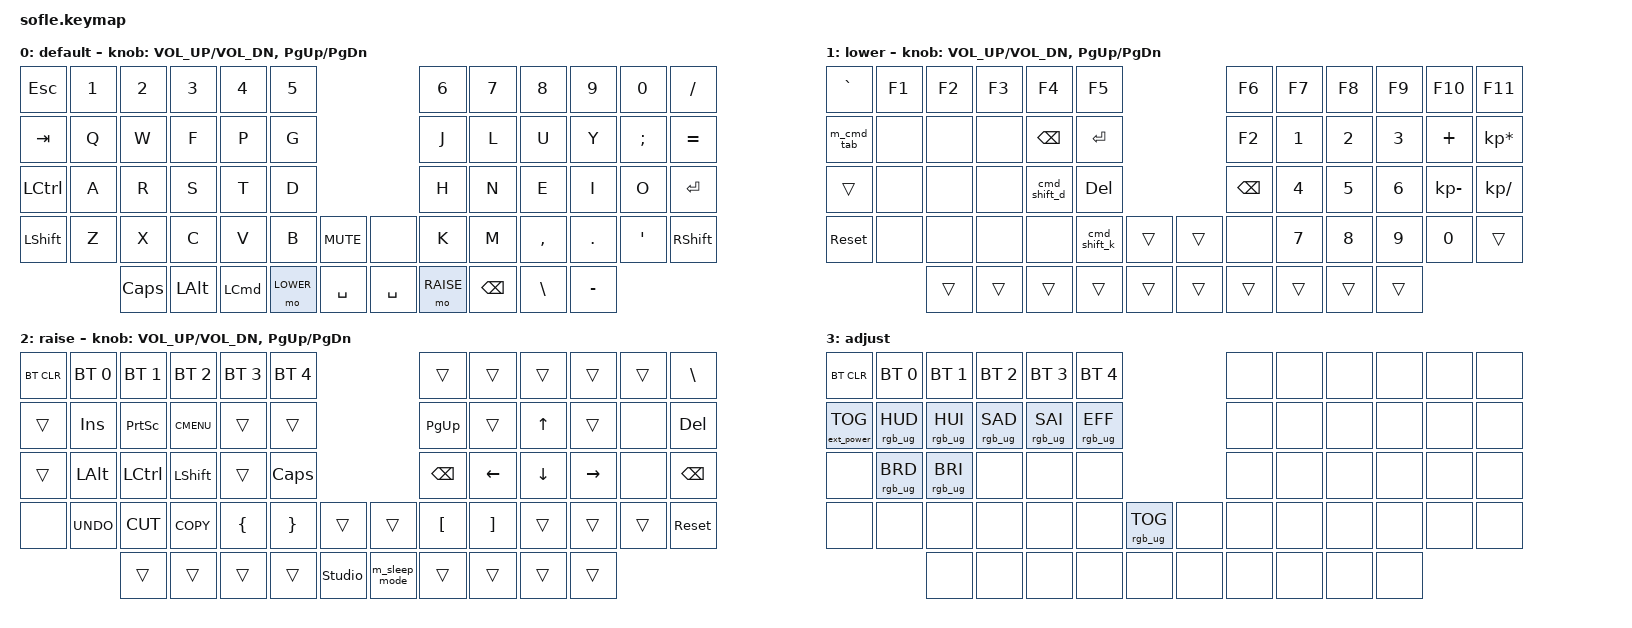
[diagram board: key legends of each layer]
/*
 * Copyright (c) 2020 The ZMK Contributors
 *
 * SPDX-License-Identifier: MIT
 */

#include <behaviors.dtsi>
#include <dt-bindings/zmk/bt.h>
#include <dt-bindings/zmk/ext_power.h>
#include <dt-bindings/zmk/keys.h>
#include <dt-bindings/zmk/rgb.h>

#define BASE 0
#define LOWER 1
#define RAISE 2
#define ADJUST 3

/ {
    // Activate ADJUST layer by pressing raise and lower

    conditional_layers {
        compatible = "zmk,conditional-layers";

        adjust_layer {
            if-layers = <LOWER RAISE>;
            then-layer = <ADJUST>;
        };
    };

    combos {
        compatible = "zmk,combos";

        delete_line {
            bindings = <&none>;
            key-positions = <36 52 44>;
        };
    };

    macros {
        cmd_shift_k: cmd_shift_k {
            compatible = "zmk,behavior-macro";
            #binding-cells = <0>;
            bindings = <&kp LS(LG(K))>;
            label = "CMD_SHIFT_K";
        };

        cmd_shift_d: cmd_shift_d {
            compatible = "zmk,behavior-macro";
            #binding-cells = <0>;
            bindings = <&kp LS(LG(D))>;
            label = "CMD_SHIFT_D";
        };

        m_sleep_mode: m_sleep_mode {
            compatible = "zmk,behavior-macro";
            #binding-cells = <0>;
            bindings = <&kp LG(LA(C_POWER))>;
            label = "M_SLEEP_MODE";
        };

        m_cmd_tab: m_cmd_tab {
            compatible = "zmk,behavior-macro";
            #binding-cells = <0>;
            bindings = <&kp LG(GRAVE)>;
            label = "M_CMD_TAB";
        };
    };

    keymap {
        compatible = "zmk,keymap";

        default_layer {
            display-name = "default";

            // ------------------------------------------------------------------------------------------------------------
            // |   `   |  1  |  2  |  3   |  4   |  5   |                   |  6   |  7    |  8    |  9   |   0   |       |
            // |  ESC  |  Q  |  W  |  E   |  R   |  T   |                   |  Y   |  U    |  I    |  O   |   P   | BKSPC |
            // |  TAB  |  A  |  S  |  D   |  F   |  G   |                   |  H   |  J    |  K    |  L   |   ;   |   '   |
            // | SHIFT |  Z  |  X  |  C   |  V   |  B   |  MUTE  |  |       |  N   |  M    |  ,    |  .   |   /   | SHIFT |
            //               | GUI | ALT  | CTRL | LOWER|  ENTER |  | SPACE | RAISE| CTRL  | ALT   | GUI  |

            bindings = <
&kp ESC           &kp N1  &kp N2        &kp N3    &kp N4    &kp N5                              &kp N6     &kp N7         &kp N8         &kp N9      &kp N0         &kp SLASH
&kp TAB           &kp Q   &kp W         &kp F     &kp P     &kp G                               &kp J      &kp L          &kp U          &kp Y       &kp SEMICOLON  &kp EQUAL
&kp LEFT_CONTROL  &kp A   &kp R         &kp S     &kp T     &kp D                               &kp H      &kp N          &kp E          &kp I       &kp O          &kp RETURN
&kp LSHFT         &kp Z   &kp X         &kp C     &kp V     &kp B      &kp C_MUTE    &none      &kp K      &kp M          &kp COMMA      &kp PERIOD  &kp SQT        &kp RSHFT
                          &kp CAPSLOCK  &kp LALT  &kp LCMD  &mo LOWER  &kp SPACE     &kp SPACE  &mo RAISE  &kp BACKSPACE  &kp BACKSLASH  &kp MINUS
            >;

            sensor-bindings = <&inc_dec_kp C_VOL_UP C_VOL_DN &inc_dec_kp PG_UP PG_DN>;
        };

        lower_layer {
            display-name = "lower";

            // TODO: Some binds are waiting for shifted keycode support.
            // ------------------------------------------------------------------------------------------------------------
            // |       |  F1 |  F2 |  F3  |  F4  |  F5  |                   |  F6  |  F7   |  F8   |  F9  |  F10  |  F11  |
            // |   `   |  1  |  2  |  3   |  4   |  5   |                   |  6   |  7    |  8    |  9   |   0   |  F12  |
            // |       |  !  |  @  |  #   |  $   |  %   |                   |  ^   |  &    |  *    |  (   |   )   |   |   |
            // |       |  =  |  -  |  +   |  {   |  }   |        |  |       |  [   |  ]    |  ;    |  :   |   \   |       |
            //               |     |      |      |      |        |  |       |      |       |       |      |

            bindings = <
&kp GRAVE   &kp F1  &kp F2  &kp F3  &kp F4         &kp F5                          &kp F6         &kp F7        &kp F8        &kp F9        &kp F10          &kp F11
&m_cmd_tab  &none   &none   &none   &kp BACKSPACE  &kp ENTER                       &kp F2         &kp NUMBER_1  &kp NUMBER_2  &kp NUMBER_3  &kp PLUS         &kp KP_MULTIPLY
&trans      &none   &none   &none   &cmd_shift_d   &kp DELETE                      &kp BACKSPACE  &kp NUMBER_4  &kp N5        &kp NUMBER_6  &kp KP_SUBTRACT  &kp KP_DIVIDE
&sys_reset  &none   &none   &none   &none          &cmd_shift_k  &trans    &trans  &none          &kp N7        &kp N8        &kp N9        &kp N0           &trans
                    &trans  &trans  &trans         &trans        &trans    &trans  &trans         &trans        &trans        &trans
            >;

            sensor-bindings = <&inc_dec_kp C_VOL_UP C_VOL_DN &inc_dec_kp PG_UP PG_DN>;
        };

        raise_layer {
            display-name = "raise";

            // ------------------------------------------------------------------------------------------------------------
            // | BTCLR | BT1  | BT2  |  BT3  |  BT4  |  BT5 |                |      |      |       |      |       |       |
            // |       | INS  | PSCR | GUI   |       |      |                | PGUP |      |   ^   |      |       |       |
            // |       | ALT  | CTRL | SHIFT |       | CAPS |                | PGDN |   <- |   v   |  ->  |  DEL  | BKSPC |
            // |       | UNDO | CUT  | COPY  | PASTE |      |      |  |      |      |      |       |      |       |       |
            //                |      |       |       |      |      |  |      |      |      |       |      |

            bindings = <
&bt BT_CLR  &bt BT_SEL 0  &bt BT_SEL 1  &bt BT_SEL 2  &bt BT_SEL 3    &bt BT_SEL 4                                      &trans            &trans             &trans    &trans     &trans  &kp BACKSLASH
&trans      &kp INS       &kp PSCRN     &kp K_CMENU   &trans          &trans                                            &kp PG_UP         &trans             &kp UP    &trans     &none   &kp DELETE
&trans      &kp LALT      &kp LCTRL     &kp LSHFT     &trans          &kp CLCK                                          &kp BACKSPACE     &kp LEFT           &kp DOWN  &kp RIGHT  &none   &kp BSPC
&none       &kp K_UNDO    &kp K_CUT     &kp K_COPY    &kp LEFT_BRACE  &kp RIGHT_BRACE  &trans            &trans         &kp LEFT_BRACKET  &kp RIGHT_BRACKET  &trans    &trans     &trans  &sys_reset
                          &trans        &trans        &trans          &trans           &studio_unlock    &m_sleep_mode  &trans            &trans             &trans    &trans
            >;

            sensor-bindings = <&inc_dec_kp C_VOL_UP C_VOL_DN &inc_dec_kp PG_UP PG_DN>;
        };

        adjust_layer {
            // ----------------------------------------------------------------------------------------------------------------------------
            // | BTCLR  |  BT1    |  BT2    |   BT3   |   BT4   |   BT5   |                  |      |      |       |      |       |       |
            // | EXTPWR | RGB_HUD | RGB_HUI | RGB_SAD | RGB_SAI | RGB_EFF |                  |      |      |       |      |       |       |
            // |        | RGB_BRD | RGB_BRI |         |         |         |                  |      |      |       |      |       |       |
            // |        |         |         |         |         |         | RGB_TOG | |      |      |      |       |      |       |       |
            //                    |         |         |         |         |         | |      |      |      |       |      |

            display-name = "adjust";
            bindings = <
&bt BT_CLR         &bt BT_SEL 0     &bt BT_SEL 1     &bt BT_SEL 2     &bt BT_SEL 3     &bt BT_SEL 4                               &none  &none  &none  &none  &none  &none
&ext_power EP_TOG  &rgb_ug RGB_HUD  &rgb_ug RGB_HUI  &rgb_ug RGB_SAD  &rgb_ug RGB_SAI  &rgb_ug RGB_EFF                            &none  &none  &none  &none  &none  &none
&none              &rgb_ug RGB_BRD  &rgb_ug RGB_BRI  &none            &none            &none                                      &none  &none  &none  &none  &none  &none
&none              &none            &none            &none            &none            &none            &rgb_ug RGB_TOG    &none  &none  &none  &none  &none  &none  &none
                                    &none            &none            &none            &none            &none              &none  &none  &none  &none  &none
            >;
        };
    };
};
